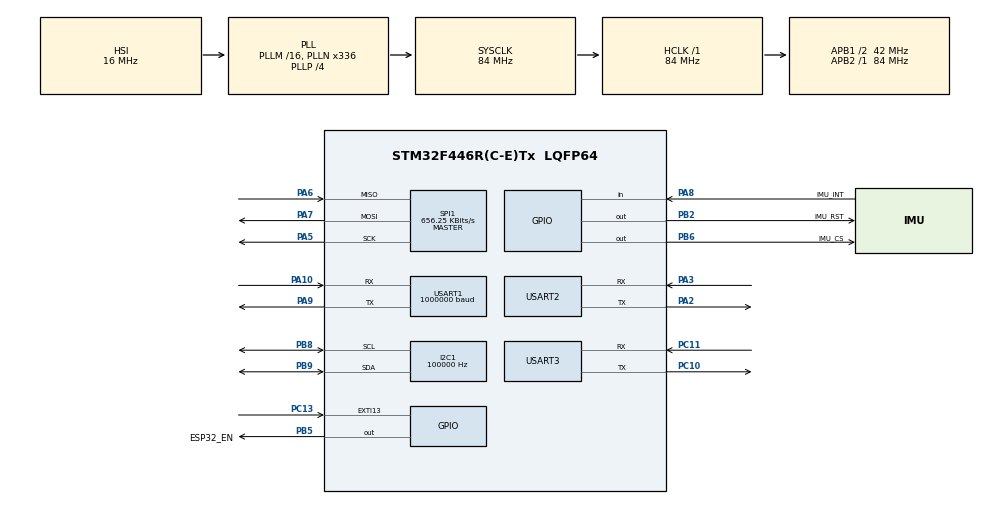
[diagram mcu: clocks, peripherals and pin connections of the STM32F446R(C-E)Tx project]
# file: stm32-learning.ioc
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I2C1.ClockSpeed=100000
I2C1.I2C_Mode=I2C_Fast
Mcu.Family=STM32F4
Mcu.Name=STM32F446R(C-E)Tx
Mcu.Package=LQFP64
NVIC.EXTI15_10_IRQn=true\:0\:0\:false\:false\:true\:true\:true\:true
NVIC.PriorityGroup=NVIC_PRIORITYGROUP_4
NVIC.TIM2_IRQn=true\:0\:0\:false\:false\:true\:true\:true\:true
NVIC.USART1_IRQn=true\:0\:0\:false\:false\:true\:true\:true\:true
NVIC.USART2_IRQn=true\:2\:0\:false\:false\:true\:true\:true\:true
NVIC.USART3_IRQn=true\:1\:0\:false\:false\:true\:true\:true\:true
PA10.Mode=Asynchronous
PA10.Signal=USART1_RX
PA13.Mode=Serial_Wire
PA13.Signal=SYS_JTMS-SWDIO
PA14.Mode=Serial_Wire
PA14.Signal=SYS_JTCK-SWCLK
PA2.Mode=Asynchronous
PA2.Signal=USART2_TX
PA3.Mode=Asynchronous
PA3.Signal=USART2_RX
PA5.Mode=Full_Duplex_Master
PA5.Signal=SPI1_SCK
PA6.Mode=Full_Duplex_Master
PA6.Signal=SPI1_MISO
PA7.Mode=Full_Duplex_Master
PA7.Signal=SPI1_MOSI
PA8.GPIO_Label=IMU_INT
PA8.GPIO_PuPd=GPIO_PULLUP
PA8.Signal=GPIO_Input
PA9.Mode=Asynchronous
PA9.Signal=USART1_TX
PB2.GPIO_Label=IMU_RST
PB2.PinState=GPIO_PIN_SET
PB2.Signal=GPIO_Output
PB5.GPIO_Label=ESP32_EN
PB5.GPIO_Mode=GPIO_MODE_OUTPUT_OD
PB5.GPIO_Speed=GPIO_SPEED_FREQ_LOW
PB5.PinState=GPIO_PIN_RESET
PB5.Signal=GPIO_Output
PB6.GPIO_Label=IMU_CS
PB6.GPIO_Speed=GPIO_SPEED_FREQ_VERY_HIGH
PB6.PinState=GPIO_PIN_SET
PB6.Signal=GPIO_Output
PB8.Mode=I2C
PB8.Signal=I2C1_SCL
PB9.Mode=I2C
PB9.Signal=I2C1_SDA
PC10.Mode=Asynchronous
PC10.Signal=USART3_TX
PC11.Mode=Asynchronous
PC11.Signal=USART3_RX
PC13.GPIO_ModeDefaultEXTI=GPIO_MODE_IT_FALLING
PC13.GPIO_PuPd=GPIO_PULLUP
PC13.Signal=GPXTI13
ProjectManager.HeapSize=0x200
ProjectManager.StackSize=0x400
ProjectManager.TargetToolchain=STM32CubeIDE
RCC.CortexFreq_Value=84000000
RCC.USBFreq_Value=48000000
RCC.VCOOutputFreq_Value=336000000
SPI1.BaudRatePrescaler=SPI_BAUDRATEPRESCALER_128
SPI1.CLKPhase=SPI_PHASE_2EDGE
SPI1.CLKPolarity=SPI_POLARITY_HIGH
SPI1.CalculateBaudRate=656.25 KBits/s
SPI1.Direction=SPI_DIRECTION_2LINES
SPI1.Mode=SPI_MODE_MASTER
SPI1.VirtualType=VM_MASTER
TIM2.Period=9999
TIM2.Prescaler=44099
USART1.BaudRate=1000000
USART1.VirtualMode=VM_ASYNC
USART2.VirtualMode=VM_ASYNC
USART3.VirtualMode=VM_ASYNC
VP_TIM2_VS_ClockSourceINT.Mode=Internal
board=custom
RCC.HCLKFreq_Value=84000000
RCC.SYSCLKFreq_VALUE=84000000
RCC.SYSCLKSource=RCC_SYSCLKSOURCE_PLLCLK
RCC.APB1CLKDivider=RCC_HCLK_DIV2
RCC.APB1Freq_Value=42000000
RCC.APB1TimFreq_Value=84000000
RCC.APB2Freq_Value=84000000
RCC.APB2TimFreq_Value=84000000
RCC.PLLM=16
RCC.PLLN=336
RCC.PLLP=RCC_PLLP_DIV4
RCC.PLLQ=7
RCC.PLLSourceVirtual=RCC_PLLSOURCE_HSI

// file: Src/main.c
/* USER CODE BEGIN Header */
/**
 ******************************************************************************
 * @file           : main.c
 * @brief          : Main program body
 ******************************************************************************
 * @attention
 *
 * Copyright (c) 2026 STMicroelectronics.
 * All rights reserved.
 *
 * This software is licensed under terms that can be found in the LICENSE file
 * in the root directory of this software component.
 * If no LICENSE file comes with this software, it is provided AS-IS.
 *
 ******************************************************************************
 */
/* USER CODE END Header */
#include "main.h"

/* USER CODE BEGIN Includes */
#include "flight_log.h"
#include "app_console.h"
#include "bno055.h"
#include "bno086.h"
#include "robot.h"
#include "servo_bus.h"

#include <stdio.h>
#include <string.h>
#include <stdlib.h>
/* USER CODE END Includes */

/* USER CODE BEGIN PD */
#define ESP32_RESET_HOLD_MS 1000U
/* USER CODE END PD */

I2C_HandleTypeDef hi2c1;

SPI_HandleTypeDef hspi1;

TIM_HandleTypeDef htim2;

UART_HandleTypeDef huart1;
UART_HandleTypeDef huart2;
UART_HandleTypeDef huart3;

/* USER CODE BEGIN PV */
/*
 * Both IMUs are compiled in and the attached one is picked at boot.  The
 * BNO055 lives on I2C1 and the BNO086 on SPI1, so they cannot collide, and
 * swapping the sensor no longer means reflashing a different build.
 */
static Bno055 imu055;
static Bno086 imu086;
static bool imu_log_enabled = false;
static ServoBus servo_bus;
static RobotController robot;
static AppConsole console;
static AppConsole wifi_console;
static void service_realtime_console(void) {
  static bool prefer_wifi;
  AppConsole *first=prefer_wifi?&wifi_console:&console;
  AppConsole *second=prefer_wifi?&console:&wifi_console;
  if(first->stabilize_reply_pending)app_console_service_realtime(first);
  else app_console_service_realtime(second);
  prefer_wifi=!prefer_wifi; /* At most one bounded ACK per motion frame. */
}
/* USER CODE END PV */

void SystemClock_Config(void);
static void MX_GPIO_Init(void);
static void MX_USART2_UART_Init(void);
static void MX_TIM2_Init(void);
static void MX_USART1_UART_Init(void);
static void MX_I2C1_Init(void);
static void MX_SPI1_Init(void);
static void MX_USART3_UART_Init(void);
/* USER CODE BEGIN PFP */
static void uart_print(const char *text);
static void print_bno086_bringup(const Bno086 *imu, Bno086Result result);
static void IMU_PrintEuler(void);
/* USER CODE END PFP */

/* USER CODE BEGIN 0 */
static const char *gpio_level(bool active_low_asserted)
{
  return active_low_asserted ? "LOW" : "HIGH";
}

static void print_bno086_bringup(const Bno086 *imu, Bno086Result result)
{
  char message[180];

  (void)snprintf(message,
                 sizeof(message),
                 "BNO086 RESET: INT before=%s during=%s after=%s; first LOW=%s",
                 gpio_level(imu->int_before_reset),
                 gpio_level(imu->int_during_reset),
                 gpio_level(imu->int_after_boot_wait),
                 imu->first_interrupt_seen ? "yes" : "no");
  uart_print(message);
  if (imu->first_interrupt_seen)
  {
    (void)snprintf(message,
                   sizeof(message),
                   " at %lums\r\n",
                   (unsigned long)imu->first_interrupt_delay_ms);
    uart_print(message);
    (void)snprintf(message,
                   sizeof(message),
                   "BNO055 calibration: device=%s level=%s zero=(%d,%d) tenths\r\n",
                   imu055.device_profile_restored ? "restored" : "none",
                   imu055.level_valid ? "restored" : "none",
                   (int)imu055.level_roll_tenths,
                   (int)imu055.level_pitch_tenths);
    uart_print(message);
  }
  else
  {
    uart_print("\r\n");
  }

  (void)snprintf(message,
                 sizeof(message),
                 "BNO086 SHTP: first=%s header=%02X %02X %02X %02X "
                 "len=%u channel=%u seq=%u packets=%lu invalid=%lu spierr=%lu\r\n",
                 imu->first_packet_seen ? "valid" : "none",
                 (unsigned int)imu->first_header[0],
                 (unsigned int)imu->first_header[1],
                 (unsigned int)imu->first_header[2],
                 (unsigned int)imu->first_header[3],
                 (unsigned int)imu->first_packet_length,
                 (unsigned int)imu->first_packet_channel,
                 (unsigned int)imu->first_packet_sequence,
                 (unsigned long)imu->packets_received,
                 (unsigned long)imu->invalid_headers,
                 (unsigned long)imu->spi_errors);
  uart_print(message);

  (void)snprintf(message,
                 sizeof(message),
                 "BNO086 Product ID: status=%d entries=%u\r\n",
                 imu->product_id_status,
                 (unsigned int)imu->product_ids.numEntries);
  uart_print(message);
  for (uint8_t index = 0U; index < imu->product_ids.numEntries; ++index)
  {
    const sh2_ProductId_t *id = &imu->product_ids.entry[index];
    (void)snprintf(message,
                   sizeof(message),
                   "  product[%u]: part=%lu version=%u.%u.%u build=%lu reset=%u\r\n",
                   (unsigned int)index,
                   (unsigned long)id->swPartNumber,
                   (unsigned int)id->swVersionMajor,
                   (unsigned int)id->swVersionMinor,
                   (unsigned int)id->swVersionPatch,
                   (unsigned long)id->swBuildNumber,
                   (unsigned int)id->resetCause);
    uart_print(message);
  }

  if (result == BNO086_OK && imu->has_attitude)
  {
    (void)snprintf(message,
                   sizeof(message),
                   "BNO086 Rotation Vector: reports=%lu "
                   "q_x10000=(%ld,%ld,%ld,%ld) angles_tenths=(%d,%d,%d)\r\n",
                   (unsigned long)imu->report_count,
                   (long)(imu->quat_i * 10000.0f),
                   (long)(imu->quat_j * 10000.0f),
                   (long)(imu->quat_k * 10000.0f),
                   (long)(imu->quat_real * 10000.0f),
                   (int)imu->roll_tenths,
                   (int)imu->pitch_tenths,
                   (int)imu->yaw_tenths);
    uart_print(message);
  }

  (void)snprintf(message,
                 sizeof(message),
                 "BNO086 bring-up result: %s\r\n",
                 bno086_result_string(result));
  uart_print(message);
}
/* USER CODE END 0 */

int main(void)
{

  /* MCU Configuration--------------------------------------------------------*/

  /* Reset of all peripherals, Initializes the Flash interface and the Systick. */
  HAL_Init();

  /* Configure the system clock */
  SystemClock_Config();

  /* Initialize all configured peripherals */
  MX_GPIO_Init();
  MX_USART2_UART_Init();
  MX_TIM2_Init();
  MX_USART1_UART_Init();
  MX_I2C1_Init();
  MX_SPI1_Init();
  MX_USART3_UART_Init();
  /* USER CODE BEGIN 2 */
  servo_bus_init(&servo_bus, &huart1, 25U);
  robot_init(&robot, &servo_bus);
  flight_log_init(ROBOT_CONTROL_REV);
  (void)flight_log_load_foot_lift(robot.foot_lift_mm);
  (void)flight_log_load_foot_width(robot.foot_width_mm);
  app_console_init(&console, &huart2, &robot, &imu055, &imu086, &imu_log_enabled);
  app_console_init(&wifi_console, &huart3, &robot, &imu055, &imu086, &imu_log_enabled);
  robot.realtime_service = service_realtime_console;

  uart_print("\r\nPROGRAM START\r\n");
  /*
   * PB5 is wired open-drain to ESP32 EN.  MX_GPIO_Init() asserts it before
   * the peripheral setup above, so this delay lets the shared power rail
   * settle before releasing EN.  GPIO_PIN_SET on an open-drain output means
   * high-impedance; the ESP32 board's own pull-up then starts the module.
   */
  HAL_Delay(ESP32_RESET_HOLD_MS);
  HAL_GPIO_WritePin(ESP32_EN_GPIO_Port, ESP32_EN_Pin, GPIO_PIN_SET);
  uart_print("ESP32 EN released after power stabilization\r\n");

  /*
   * Try the BNO055 first. Its probe is a couple of short I2C transfers, while
   * a BNO086 that is absent or silent costs seconds of SH-2 timeouts, so this
   * order keeps boot quick in the common case.
   */
  uart_print("Waveshare servo bus ready: USART1 at 1000000 baud\r\n");
  imu055.i2c = &hi2c1;
  if (bno055_init(&imu055, &hi2c1))
  {
    char message[128];
    (void)snprintf(message,
                   sizeof(message),
                   "BNO055 IMUPLUS OK at 0x%02X\r\n",
                   (unsigned int)(imu055.address >> 1));
    uart_print(message);
    robot_set_attitude_reader(&robot, bno055_read_attitude, &imu055);
    robot.heading_reader = bno055_read_heading;
    robot.body_imu_reader = bno055_read_body_imu;
    uart_print("IMU balance default ON: full, absolute level target\r\n");
  }
  else
  {
    /*
     * 5 ms subscription: the sensor fuses faster than the balance loop
     * consumes, so a step never acts on a sample older than one period.
     */
    uart_print("BNO086 bring-up: SPI1 mode 3, 1MHz; CS=PB6 RST=PB2 INT=PA8(active-low)\r\n");
    const Bno086Result imu_result = bno086_init(&imu086, &hspi1, 5000U);
    print_bno086_bringup(&imu086, imu_result);
    if (imu_result == BNO086_OK)
    {
      uart_print("BNO086 game rotation vector OK at 200Hz\r\n");
      robot_set_attitude_reader(&robot, bno086_read_attitude, &imu086);
      uart_print("IMU balance default ON: full, absolute level target\r\n");
    }
    else
    {
      char message[80];
      (void)snprintf(message,
                     sizeof(message),
                     "No IMU: BNO055 absent, BNO086 %s (prodIds=%d)\r\n",
                     bno086_result_string(imu_result),
                     imu086.product_id_status);
      uart_print(message);
      uart_print("Trot/jump locked: use balance off only for explicit open-loop test\r\n");
    }
  }

  app_console_print_help(&console);
  app_console_print_prompt(&console);

  app_console_print_help(&wifi_console);
  app_console_print_prompt(&wifi_console);
  /* USER CODE END 2 */

  /* Infinite loop */
  while (1)
  {

    /* USER CODE BEGIN 3 */
    static uint32_t last_imu_print = 0U;
    //      static uint32_t uart3_test_tick = 0U;

    // /* USART3 -> ESP32 단방향 테스트 */
    // if ((uint32_t)(HAL_GetTick() - uart3_test_tick) >= 1000U)
    // {
    //     uart3_test_tick = HAL_GetTick();

    //     const char msg[] = "STM32 USART3 TX OK\r\n";

    //     HAL_UART_Transmit(
    //         &huart3,
    //         (uint8_t *)msg,
    //         sizeof(msg) - 1U,
    //         100U
    //     );
    // }

    app_console_poll(&console);
    app_console_poll(&wifi_console);
    app_console_auto_imu_recovery(&wifi_console);

    bno086_service(&imu086);

    if (imu_log_enabled && (imu055.present || imu086.present) &&
        (uint32_t)(HAL_GetTick() - last_imu_print) >= 100U)
    {
      IMU_PrintEuler();
      last_imu_print = HAL_GetTick();
    }

    robot_control_idle(&robot);
    HAL_Delay(1);
  }
  /* USER CODE END 3 */
}

void SystemClock_Config(void)
{
  RCC_OscInitTypeDef RCC_OscInitStruct = {0};
  RCC_ClkInitTypeDef RCC_ClkInitStruct = {0};

  /** Configure the main internal regulator output voltage
  */
  __HAL_RCC_PWR_CLK_ENABLE();
  __HAL_PWR_VOLTAGESCALING_CONFIG(PWR_REGULATOR_VOLTAGE_SCALE2);

  /** Initializes the RCC Oscillators according to the specified parameters
  * in the RCC_OscInitTypeDef structure.
  */
  RCC_OscInitStruct.OscillatorType = RCC_OSCILLATORTYPE_HSI;
  RCC_OscInitStruct.HSIState = RCC_HSI_ON;
  RCC_OscInitStruct.HSICalibrationValue = RCC_HSICALIBRATION_DEFAULT;
  /* HSI 16 MHz / 16 * 336 / 4 = 84 MHz. No external crystal required.
   * Keep APB1 at 42 MHz and APB2 at 84 MHz. Peripheral baud rates are
   * initialized by HAL after this switch; the gait clock remains 50 Hz. */
  RCC_OscInitStruct.PLL.PLLState = RCC_PLL_ON;
  RCC_OscInitStruct.PLL.PLLSource = RCC_PLLSOURCE_HSI;
  RCC_OscInitStruct.PLL.PLLM = 16;
  RCC_OscInitStruct.PLL.PLLN = 336;
  RCC_OscInitStruct.PLL.PLLP = RCC_PLLP_DIV4;
  RCC_OscInitStruct.PLL.PLLQ = 7;
  RCC_OscInitStruct.PLL.PLLR = 2;
  if (HAL_RCC_OscConfig(&RCC_OscInitStruct) != HAL_OK)
  {
    Error_Handler();
  }

  /** Initializes the CPU, AHB and APB buses clocks
  */
  RCC_ClkInitStruct.ClockType = RCC_CLOCKTYPE_HCLK|RCC_CLOCKTYPE_SYSCLK
                              |RCC_CLOCKTYPE_PCLK1|RCC_CLOCKTYPE_PCLK2;
  RCC_ClkInitStruct.SYSCLKSource = RCC_SYSCLKSOURCE_PLLCLK;
  RCC_ClkInitStruct.AHBCLKDivider = RCC_SYSCLK_DIV1;
  RCC_ClkInitStruct.APB1CLKDivider = RCC_HCLK_DIV2;
  RCC_ClkInitStruct.APB2CLKDivider = RCC_HCLK_DIV1;

  if (HAL_RCC_ClockConfig(&RCC_ClkInitStruct, FLASH_LATENCY_2) != HAL_OK)
  {
    Error_Handler();
  }
}

static void MX_I2C1_Init(void)
{

  hi2c1.Instance = I2C1;
  hi2c1.Init.ClockSpeed = 100000;
  hi2c1.Init.DutyCycle = I2C_DUTYCYCLE_2;
  hi2c1.Init.OwnAddress1 = 0;
  hi2c1.Init.AddressingMode = I2C_ADDRESSINGMODE_7BIT;
  hi2c1.Init.DualAddressMode = I2C_DUALADDRESS_DISABLE;
  hi2c1.Init.OwnAddress2 = 0;
  hi2c1.Init.GeneralCallMode = I2C_GENERALCALL_DISABLE;
  hi2c1.Init.NoStretchMode = I2C_NOSTRETCH_DISABLE;
  if (HAL_I2C_Init(&hi2c1) != HAL_OK)
  {
    Error_Handler();
  }

}

static void MX_SPI1_Init(void)
{

  /* SPI1 parameter configuration*/
  hspi1.Instance = SPI1;
  hspi1.Init.Mode = SPI_MODE_MASTER;
  hspi1.Init.Direction = SPI_DIRECTION_2LINES;
  hspi1.Init.DataSize = SPI_DATASIZE_8BIT;
  hspi1.Init.CLKPolarity = SPI_POLARITY_HIGH;
  hspi1.Init.CLKPhase = SPI_PHASE_2EDGE;
  hspi1.Init.NSS = SPI_NSS_SOFT;
  /* 84 MHz / 128 = 656.25 kHz: do not accelerate the IMU SPI bus. */
  hspi1.Init.BaudRatePrescaler = SPI_BAUDRATEPRESCALER_128;
  hspi1.Init.FirstBit = SPI_FIRSTBIT_MSB;
  hspi1.Init.TIMode = SPI_TIMODE_DISABLE;
  hspi1.Init.CRCCalculation = SPI_CRCCALCULATION_DISABLE;
  hspi1.Init.CRCPolynomial = 10;
  if (HAL_SPI_Init(&hspi1) != HAL_OK)
  {
    Error_Handler();
  }
  /* USER CODE BEGIN SPI1_Init 2 */
  /*
   * The BNO086 samples on the trailing edge of an idle-high clock, so mode 3.
   * PCLK2 is 16 MHz and /8 gives 2 MHz, under the part's 3 MHz ceiling.
   */
  /* USER CODE END SPI1_Init 2 */

}

static void MX_TIM2_Init(void)
{

  TIM_ClockConfigTypeDef sClockSourceConfig = {0};
  TIM_MasterConfigTypeDef sMasterConfig = {0};

  htim2.Instance = TIM2;
  /* Preserve the previous unused timer period: 84 MHz / 44100 = 16 MHz / 8400. */
  htim2.Init.Prescaler = 44099;
  htim2.Init.CounterMode = TIM_COUNTERMODE_UP;
  htim2.Init.Period = 9999;
  htim2.Init.ClockDivision = TIM_CLOCKDIVISION_DIV1;
  htim2.Init.AutoReloadPreload = TIM_AUTORELOAD_PRELOAD_DISABLE;
  if (HAL_TIM_Base_Init(&htim2) != HAL_OK)
  {
    Error_Handler();
  }
  sClockSourceConfig.ClockSource = TIM_CLOCKSOURCE_INTERNAL;
  if (HAL_TIM_ConfigClockSource(&htim2, &sClockSourceConfig) != HAL_OK)
  {
    Error_Handler();
  }
  sMasterConfig.MasterOutputTrigger = TIM_TRGO_RESET;
  sMasterConfig.MasterSlaveMode = TIM_MASTERSLAVEMODE_DISABLE;
  if (HAL_TIMEx_MasterConfigSynchronization(&htim2, &sMasterConfig) != HAL_OK)
  {
    Error_Handler();
  }

}

static void MX_USART1_UART_Init(void)
{

  huart1.Instance = USART1;
  huart1.Init.BaudRate = 1000000;
  huart1.Init.WordLength = UART_WORDLENGTH_8B;
  huart1.Init.StopBits = UART_STOPBITS_1;
  huart1.Init.Parity = UART_PARITY_NONE;
  huart1.Init.Mode = UART_MODE_TX_RX;
  huart1.Init.HwFlowCtl = UART_HWCONTROL_NONE;
  huart1.Init.OverSampling = UART_OVERSAMPLING_16;
  if (HAL_UART_Init(&huart1) != HAL_OK)
  {
    Error_Handler();
  }
  /* USER CODE BEGIN USART1_Init 2 */

  /*
   * STS3215 uses a 1 Mbps bus. Keep this runtime guard in a USER CODE
   * section so a CubeMX regeneration cannot silently leave USART1 at its
   * 115200 default.
   */
  if (huart1.Init.BaudRate != 1000000U)
  {
    huart1.Init.BaudRate = 1000000U;
    if (HAL_UART_Init(&huart1) != HAL_OK)
    {
      Error_Handler();
    }
  }

  /* USER CODE END USART1_Init 2 */

}

static void MX_USART2_UART_Init(void)
{

  huart2.Instance = USART2;
  huart2.Init.BaudRate = 115200;
  huart2.Init.WordLength = UART_WORDLENGTH_8B;
  huart2.Init.StopBits = UART_STOPBITS_1;
  huart2.Init.Parity = UART_PARITY_NONE;
  huart2.Init.Mode = UART_MODE_TX_RX;
  huart2.Init.HwFlowCtl = UART_HWCONTROL_NONE;
  huart2.Init.OverSampling = UART_OVERSAMPLING_16;
  if (HAL_UART_Init(&huart2) != HAL_OK)
  {
    Error_Handler();
  }

}

static void MX_USART3_UART_Init(void)
{

  huart3.Instance = USART3;
  huart3.Init.BaudRate = 115200;
  huart3.Init.WordLength = UART_WORDLENGTH_8B;
  huart3.Init.StopBits = UART_STOPBITS_1;
  huart3.Init.Parity = UART_PARITY_NONE;
  huart3.Init.Mode = UART_MODE_TX_RX;
  huart3.Init.HwFlowCtl = UART_HWCONTROL_NONE;
  huart3.Init.OverSampling = UART_OVERSAMPLING_16;
  if (HAL_UART_Init(&huart3) != HAL_OK)
  {
    Error_Handler();
  }

}

static void MX_GPIO_Init(void)
{
  GPIO_InitTypeDef GPIO_InitStruct = {0};

  /* GPIO Ports Clock Enable */
  __HAL_RCC_GPIOC_CLK_ENABLE();
  __HAL_RCC_GPIOA_CLK_ENABLE();
  __HAL_RCC_GPIOB_CLK_ENABLE();

  /*Configure GPIO pin Output Level */
  HAL_GPIO_WritePin(GPIOB, IMU_RST_Pin|IMU_CS_Pin, GPIO_PIN_SET);
  HAL_GPIO_WritePin(ESP32_EN_GPIO_Port, ESP32_EN_Pin, GPIO_PIN_RESET);

  /*Configure GPIO pin : PC13 */
  GPIO_InitStruct.Pin = GPIO_PIN_13;
  GPIO_InitStruct.Mode = GPIO_MODE_IT_FALLING;
  GPIO_InitStruct.Pull = GPIO_PULLUP;
  HAL_GPIO_Init(GPIOC, &GPIO_InitStruct);

  /*Configure GPIO pin : IMU_RST_Pin */
  GPIO_InitStruct.Pin = IMU_RST_Pin;
  GPIO_InitStruct.Mode = GPIO_MODE_OUTPUT_PP;
  GPIO_InitStruct.Pull = GPIO_NOPULL;
  GPIO_InitStruct.Speed = GPIO_SPEED_FREQ_LOW;
  HAL_GPIO_Init(GPIOB, &GPIO_InitStruct);

  /*Configure GPIO pin : ESP32_EN_Pin */
  GPIO_InitStruct.Pin = ESP32_EN_Pin;
  GPIO_InitStruct.Mode = GPIO_MODE_OUTPUT_OD;
  GPIO_InitStruct.Pull = GPIO_NOPULL;
  GPIO_InitStruct.Speed = GPIO_SPEED_FREQ_LOW;
  HAL_GPIO_Init(ESP32_EN_GPIO_Port, &GPIO_InitStruct);

  /*Configure GPIO pin : IMU_INT_Pin */
  GPIO_InitStruct.Pin = IMU_INT_Pin;
  GPIO_InitStruct.Mode = GPIO_MODE_INPUT;
  GPIO_InitStruct.Pull = GPIO_PULLUP;
  HAL_GPIO_Init(IMU_INT_GPIO_Port, &GPIO_InitStruct);

  /*Configure GPIO pin : IMU_CS_Pin */
  GPIO_InitStruct.Pin = IMU_CS_Pin;
  GPIO_InitStruct.Mode = GPIO_MODE_OUTPUT_PP;
  GPIO_InitStruct.Pull = GPIO_NOPULL;
  GPIO_InitStruct.Speed = GPIO_SPEED_FREQ_VERY_HIGH;
  HAL_GPIO_Init(IMU_CS_GPIO_Port, &GPIO_InitStruct);

  /* EXTI interrupt init*/
  HAL_NVIC_SetPriority(EXTI15_10_IRQn, 0, 0);
  HAL_NVIC_EnableIRQ(EXTI15_10_IRQn);

}

/* USER CODE BEGIN 4 */
/*
 * The B1 user button on PC13 used to blink LD2.  LD2 sits on PA5, which is now
 * SPI1_SCK for the BNO086, so the callback is gone rather than left blinking
 * an LED that would corrupt every SPI frame.
 */

void HAL_UART_RxCpltCallback(UART_HandleTypeDef *huart)

{
  app_console_on_rx_complete(&console, huart);
  app_console_on_rx_complete(&wifi_console, huart);
}

void HAL_UART_ErrorCallback(UART_HandleTypeDef *huart)
{
  app_console_on_uart_error(&console, huart);
  app_console_on_uart_error(&wifi_console, huart);
}

static void uart_print(const char *text)
{
  const uint16_t length = (uint16_t)strlen(text);
  HAL_UART_Transmit(&huart2, (uint8_t *)text, length, HAL_MAX_DELAY);
  HAL_UART_Transmit(&huart3, (uint8_t *)text, length, HAL_MAX_DELAY);
}

static void IMU_PrintEuler(void)
{
  char message[100];
  int32_t yaw10 = 0;
  int32_t roll10 = 0;
  int32_t pitch10 = 0;

  if (imu055.present)
  {
    int16_t yaw = 0;
    int16_t roll = 0;
    int16_t pitch = 0;
    if (!bno055_read_euler(&imu055, &yaw, &roll, &pitch))
    {
      uart_print("Euler read error\r\n");
      return;
    }
    yaw10 = yaw;
    roll10 = roll;
    pitch10 = pitch;
  }
  else if (imu086.present && imu086.has_attitude)
  {
    yaw10 = imu086.yaw_tenths;
    roll10 = imu086.roll_tenths;
    pitch10 = imu086.pitch_tenths;
  }
  else
  {
    uart_print("IMU unavailable\r\n");
    return;
  }

  /*
   * Same line shape the BNO055 has always printed, so the host-side parsers
   * and the bench notes in HARDWARE_TEST_LOG.md keep working.  Note the yaw
   * differs by sensor: absolute heading on the BNO055, relative to power-on
   * on the BNO086's game rotation vector.
   */
  snprintf(message,
           sizeof(message),
           "Yaw=%s%ld.%01ld, Roll=%s%ld.%01ld, Pitch=%s%ld.%01ld deg\r\n",
           yaw10 < 0 ? "-" : "",
           labs(yaw10) / 10,
           labs(yaw10) % 10,
           roll10 < 0 ? "-" : "",
           labs(roll10) / 10,
           labs(roll10) % 10,
           pitch10 < 0 ? "-" : "",
           labs(pitch10) / 10,
           labs(pitch10) % 10);

  uart_print(message);
}

/* USER CODE END 4 */

void Error_Handler(void)
{
  __disable_irq();
  while (1)
  {
  }
}
